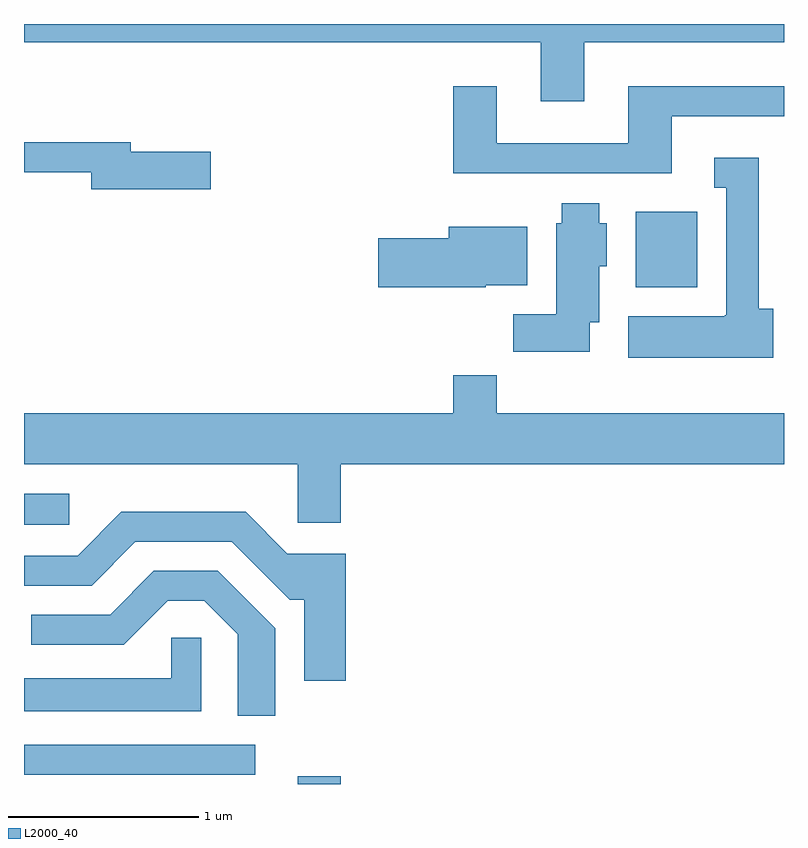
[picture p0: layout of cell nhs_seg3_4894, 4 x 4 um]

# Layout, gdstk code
import gdstk
lib = gdstk.Library(unit=1e-6, precision=1e-09)
def R(c, l, rs):  # rectangles x0, y0, x1, y1
    for r in rs: c.add(gdstk.rectangle(r[:2], r[2:], *l))
def P(c, l, *ps):  # polygons
    for p in ps: c.add(gdstk.Polygon(p, *l))
L2000_40 = (2000, 40)

nhs_seg3_4894 = lib.new_cell('nhs_seg3_4894')
R(nhs_seg3_4894, L2000_40, [(331.051,1119.892,331.279,1119.934), (329.611,1119.941,330.828,1120.099), (329.611,1121.256,329.848,1121.419), (332.831,1122.506,333.154,1122.904)])
P(nhs_seg3_4894, L2000_40, [(332.559,1123.796),(333.611,1123.796),(333.611,1123.892),(329.611,1123.892),(329.611,1123.796),(332.331,1123.796),(332.331,1123.486),(332.559,1123.486)],
  [(333.019,1123.406),(333.611,1123.406),(333.611,1123.564),(332.791,1123.564),(332.791,1123.264),(332.099,1123.264),(332.099,1123.564),(331.871,1123.564),(331.871,1123.106),(333.019,1123.106)],
  [(330.594,1123.219),(330.174,1123.219),(330.174,1123.269),(329.611,1123.269),(329.611,1123.111),(329.966,1123.111),(329.966,1123.021),(330.594,1123.021)],
  [(333.554,1122.394),(333.479,1122.394),(333.479,1123.189),(333.243,1123.189),(333.243,1123.031),(333.306,1123.031),(333.306,1122.36),(333.3,1122.36),(333.3,1122.354),(332.791,1122.354),(332.791,1122.136),(333.554,1122.136)],
  [(332.589,1122.321),(332.639,1122.321),(332.639,1122.616),(332.679,1122.616),(332.679,1122.844),(332.639,1122.844),(332.639,1122.949),(332.441,1122.949),(332.441,1122.844),(332.411,1122.844),(332.411,1122.364),(332.186,1122.364),(332.186,1122.166),(332.589,1122.166)],
  [(332.04,1122.516),(332.259,1122.516),(332.259,1122.824),(331.846,1122.824),(331.846,1122.764),(331.476,1122.764),(331.476,1122.506),(332.04,1122.506)],
  [(331.279,1121.576),(333.611,1121.576),(333.611,1121.844),(332.099,1121.844),(332.099,1122.044),(331.871,1122.044),(331.871,1121.844),(329.611,1121.844),(329.611,1121.576),(331.051,1121.576),(331.051,1121.266),(331.279,1121.266)],
  [(331.304,1121.104),(330.997,1121.104),(330.777,1121.324),(330.124,1121.324),(329.894,1121.094),(329.611,1121.094),(329.611,1120.936),(329.967,1120.936),(330.197,1121.166),(330.704,1121.166),(331.009,1120.861),(331.086,1120.861),(331.086,1120.436),(331.304,1120.436)],
  [(330.934,1120.712),(330.632,1121.014),(330.294,1121.014),(330.064,1120.784),(329.648,1120.784),(329.648,1120.626),(330.137,1120.626),(330.367,1120.856),(330.559,1120.856),(330.736,1120.679),(330.736,1120.251),(330.934,1120.251)],
  [(330.544,1120.663),(330.386,1120.663),(330.386,1120.449),(329.611,1120.449),(329.611,1120.276),(330.544,1120.276)])

lib.write_gds('nhs_seg3_4894.gds')
